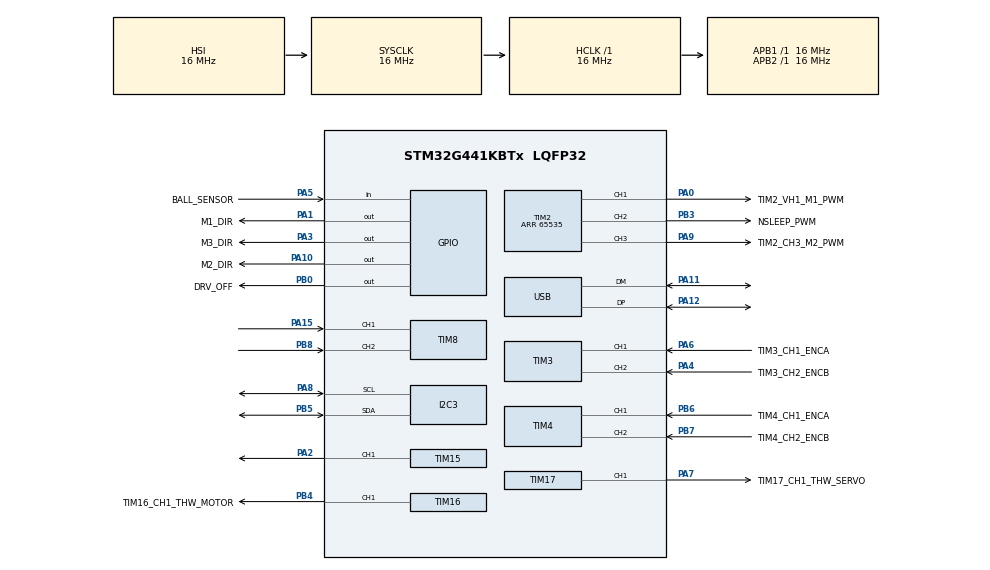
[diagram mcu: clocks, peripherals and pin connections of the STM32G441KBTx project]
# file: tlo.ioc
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Mcu.Family=STM32G4
Mcu.Name=STM32G441KBTx
Mcu.Package=LQFP32
NVIC.PriorityGroup=NVIC_PRIORITYGROUP_4
NVIC.TIM6_DAC_IRQn=true\:0\:0\:false\:false\:true\:true\:true
NVIC.USB_HP_IRQn=true\:0\:0\:false\:false\:true\:true\:true
NVIC.USB_LP_IRQn=true\:0\:0\:false\:false\:true\:false\:true
PA0.GPIO_Label=TIM2_VH1_M1_PWM
PA0.Signal=S_TIM2_CH1
PA1.GPIO_Label=M1_DIR
PA1.Signal=GPIO_Output
PA10.GPIO_Label=M2_DIR
PA10.Signal=GPIO_Output
PA11.Mode=Device
PA11.Signal=USB_DM
PA12.Mode=Device
PA12.Signal=USB_DP
PA13.Mode=Serial_Wire
PA13.Signal=SYS_JTMS-SWDIO
PA14.Mode=Serial_Wire
PA14.Signal=SYS_JTCK-SWCLK
PA15.GPIO_ModeDefaultPP=GPIO_MODE_AF_PP
PA15.GPIO_PuPd=GPIO_NOPULL
PA15.GPIO_Speed=GPIO_SPEED_FREQ_LOW
PA15.Signal=S_TIM8_CH1
PA2.GPIO_ModeDefaultPP=GPIO_MODE_AF_PP
PA2.GPIO_PuPd=GPIO_NOPULL
PA2.GPIO_Speed=GPIO_SPEED_FREQ_LOW
PA2.Signal=S_TIM15_CH1
PA3.GPIO_Label=M3_DIR
PA3.Signal=GPIO_Output
PA4.GPIO_Label=TIM3_CH2_ENCB
PA4.Signal=S_TIM3_CH2
PA5.GPIO_Label=BALL_SENSOR
PA5.Signal=GPIO_Input
PA6.GPIO_Label=TIM3_CH1_ENCA
PA6.Signal=S_TIM3_CH1
PA7.GPIO_Label=TIM17_CH1_THW_SERVO
PA7.Signal=S_TIM17_CH1
PA8.Mode=I2C
PA8.Signal=I2C3_SCL
PA9.GPIO_Label=TIM2_CH3_M2_PWM
PA9.Signal=S_TIM2_CH3
PB0.GPIO_Label=DRV_OFF
PB0.Signal=GPIO_Output
PB3.GPIO_Label=NSLEEP_PWM
PB3.Signal=S_TIM2_CH2
PB4.GPIO_Label=TIM16_CH1_THW_MOTOR
PB4.Signal=S_TIM16_CH1
PB5.Mode=I2C
PB5.Signal=I2C3_SDA
PB6.GPIO_Label=TIM4_CH1_ENCA
PB6.Signal=S_TIM4_CH1
PB7.GPIO_Label=TIM4_CH2_ENCB
PB7.Signal=S_TIM4_CH2
PB8-BOOT0.GPIO_FM8=__NULL
PB8-BOOT0.GPIO_ModeDefaultPP=GPIO_MODE_AF_PP
PB8-BOOT0.GPIO_PuPd=GPIO_NOPULL
PB8-BOOT0.GPIO_Speed=GPIO_SPEED_FREQ_LOW
PB8-BOOT0.Signal=S_TIM8_CH2
ProjectManager.HeapSize=0x200
ProjectManager.StackSize=0x400
ProjectManager.TargetToolchain=STM32CubeIDE
RCC.AHBFreq_Value=16000000
RCC.APB1Freq_Value=16000000
RCC.APB1TimFreq_Value=16000000
RCC.APB2Freq_Value=16000000
RCC.APB2TimFreq_Value=16000000
RCC.CortexFreq_Value=16000000
RCC.EXTERNAL_CLOCK_VALUE=12288000
RCC.HCLKFreq_Value=16000000
RCC.HSE_VALUE=8000000
RCC.HSI48_VALUE=48000000
RCC.HSI_VALUE=16000000
RCC.LSE_VALUE=32768
RCC.PLLN=12
RCC.PLLQ=RCC_PLLQ_DIV4
RCC.SYSCLKFreq_VALUE=16000000
RCC.USBFreq_Value=48000000
RCC.VCOOutputFreq_Value=192000000
SH.S_TIM15_CH1.0=TIM15_CH1,PWM Generation1 CH1
SH.S_TIM16_CH1.0=TIM16_CH1,PWM Generation1 CH1
SH.S_TIM17_CH1.0=TIM17_CH1,PWM Generation1 CH1
SH.S_TIM2_CH1.0=TIM2_CH1,PWM Generation1 CH1
SH.S_TIM2_CH2.0=TIM2_CH2,PWM Generation2 CH2
SH.S_TIM2_CH3.0=TIM2_CH3,PWM Generation3 CH3
SH.S_TIM3_CH1.0=TIM3_CH1,Encoder_Interface
SH.S_TIM3_CH2.0=TIM3_CH2,Encoder_Interface
SH.S_TIM4_CH1.0=TIM4_CH1,Encoder_Interface
SH.S_TIM4_CH2.0=TIM4_CH2,Encoder_Interface
SH.S_TIM8_CH1.0=TIM8_CH1,Encoder_Interface
SH.S_TIM8_CH2.0=TIM8_CH2,Encoder_Interface
TIM1.Channel-PWM\ Generation5\ No\ Output=TIM_CHANNEL_5
TIM15.Channel-PWM\ Generation1\ CH1=TIM_CHANNEL_1
TIM16.Channel=TIM_CHANNEL_1
TIM16.PeriodNoDither=64000
TIM16.Prescaler=4
TIM17.Channel=TIM_CHANNEL_1
TIM17.PeriodNoDither=64000
TIM17.Prescaler=4
TIM2.Channel-PWM\ Generation1\ CH1=TIM_CHANNEL_1
TIM2.Channel-PWM\ Generation2\ CH2=TIM_CHANNEL_2
TIM2.Channel-PWM\ Generation3\ CH3=TIM_CHANNEL_3
TIM2.PeriodNoDither=65535
TIM6.PeriodNoDither=40000
USB_DEVICE.CLASS_NAME_FS=CDC
USB_DEVICE.VirtualMode=Cdc
USB_DEVICE.VirtualModeFS=Cdc_FS
VP_SYS_VS_DBSignals.Mode=DisableDeadBatterySignals
VP_TIM15_VS_ClockSourceINT.Mode=Internal
VP_TIM16_VS_ClockSourceINT.Mode=Enable_Timer
VP_TIM17_VS_ClockSourceINT.Mode=Enable_Timer
VP_TIM1_VS_no_output5.Mode=PWM Generation5 No Output
VP_TIM2_VS_ClockSourceINT.Mode=Internal
VP_TIM6_VS_ClockSourceINT.Mode=Enable_Timer
VP_USB_DEVICE_VS_USB_DEVICE_CDC_FS.Mode=CDC_FS
board=custom

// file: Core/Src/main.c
/* USER CODE BEGIN Header */
/**
  ******************************************************************************
  * @file           : main.c
  * @brief          : Main program body
  ******************************************************************************
  * @attention
  *
  * Copyright (c) 2022 STMicroelectronics.
  * All rights reserved.
  *
  * This software is licensed under terms that can be found in the LICENSE file
  * in the root directory of this software component.
  * If no LICENSE file comes with this software, it is provided AS-IS.
  *
  ******************************************************************************
  */
/* USER CODE END Header */
#include "main.h"
#include "usb_device.h"

I2C_HandleTypeDef hi2c3;

TIM_HandleTypeDef htim1;
TIM_HandleTypeDef htim2;
TIM_HandleTypeDef htim3;
TIM_HandleTypeDef htim4;
TIM_HandleTypeDef htim6;
TIM_HandleTypeDef htim8;
TIM_HandleTypeDef htim15;
TIM_HandleTypeDef htim16;
TIM_HandleTypeDef htim17;

/* USER CODE BEGIN PV */
double Lpos_M1 = 0;
double Lpos_M2 = 0;
double Lpos_M3 = 0;

double tgt_M1 = 0;
double tgt_M2 = 0;
double tgt_M3 = 0;

double integral_M1 = 0;
double integral_M2 = 0;
double integral_M3 = 0;

double last_err_M1 = 0;
double last_err_M2 = 0;
double last_err_M3 = 0;

uint32_t thrower_speed = 0;
uint8_t grabber_on = 0;
uint8_t thrower = 0;
uint8_t safety_iters = 0;

volatile int16_t return_M1 = 0;
volatile int16_t return_M2 = 0;
volatile int16_t return_M3 = 0;

/* USER CODE END PV */

void SystemClock_Config(void);
static void MX_GPIO_Init(void);
static void MX_TIM3_Init(void);
static void MX_TIM4_Init(void);
static void MX_TIM6_Init(void);
static void MX_TIM8_Init(void);
static void MX_TIM2_Init(void);
static void MX_TIM16_Init(void);
static void MX_TIM17_Init(void);
static void MX_TIM15_Init(void);
static void MX_I2C3_Init(void);
static void MX_TIM1_Init(void);

/* USER CODE BEGIN 0 */

typedef struct Command {
	int16_t speed1;
	int16_t speed2;
	int16_t speed3;
	uint16_t bools;
	uint32_t thrower_speed;
	uint32_t delimiter;
}Command;

typedef struct Feedback {
	int16_t speed1;
	int16_t speed2;
	int16_t speed3;
	uint16_t bools;
	uint32_t deliminer;
}Feedback;

Command command = {.speed1 = 0, .speed2 = 0, .speed3 = 0, .thrower_speed = 0, .bools = 0, .delimiter = 0xAAAA};
Feedback feedback = {.speed1 = 0, .speed2 = 0, .speed3 = 0, .bools = 0, .deliminer = 0xAAAA};

volatile uint8_t isCommandReceived = 0;

void CDC_On_Receive(uint8_t* buffer, uint32_t* length) //uint8_t* Buf, uint32_t* Len
{
	if (*length == sizeof(Command)){
		memcpy(&command, buffer, sizeof(Command));
	}
	if (command.delimiter == 0xAAAA){
		isCommandReceived = 1;
	}
}

void throw(uint32_t speed)
{
	if (speed > 7500) speed = 7500;
	if (speed < 2500) speed = 2500;
	TIM16->CCR1 = speed;
	HAL_Delay(400);
	TIM17->CCR1 = 1000;
	int n = 1;
	while (n)
	{
		n = HAL_GPIO_ReadPin(BALL_SENSOR_GPIO_Port, BALL_SENSOR_Pin);
		HAL_Delay(200);
	}
	TIM17->CCR1 = 0;
	TIM16->CCR1 = 2500;
}

void HAL_TIM_PeriodElapsedCallback(TIM_HandleTypeDef *htim)
{
	int16_t Cpos_M1 = (int16_t)TIM3->CNT;
	feedback.speed1  = Cpos_M1;
	double dif_M1 = Cpos_M1 - Lpos_M1;
	Lpos_M1 = Cpos_M1;

	int16_t Cpos_M2 = (int16_t)TIM4->CNT;
	feedback.speed2  = Cpos_M2;
	double dif_M2 = Cpos_M2 - Lpos_M2;
	Lpos_M2 = Cpos_M2;

	int16_t Cpos_M3 = (int16_t)TIM8->CNT;
	feedback.speed3  = Cpos_M3;
	double dif_M3 = Cpos_M3 - Lpos_M3;

	double Err1 = tgt_M1/15 - dif_M1;
	double Err2 = tgt_M2/15 - dif_M2;
	double Err3 = tgt_M3/15 - dif_M3;

	double kp = 4000;
	double ki = 700;
	double kd = 300;

	integral_M1 += Err1;
	integral_M2 += Err2;
	integral_M3 += Err3;

	if (integral_M1 > 40) integral_M1 = 40;
	if (integral_M1 < -40) integral_M1 = -40;

	if (integral_M2 > 40) integral_M2 = 40;
	if (integral_M2 < -40) integral_M2 = -40;

	if (integral_M3 > 40) integral_M3 = 40;
	if (integral_M3 < -40) integral_M3 = -40;

	double derivative_M1 = (Err1 - last_err_M1);
	double derivative_M2 = (Err2 - last_err_M2);
	double derivative_M3 = (Err3 - last_err_M3);

	last_err_M1 = Err1;
	last_err_M2 = Err2;
	last_err_M3 = Err3;

	int32_t Speed_M1 = (int32_t) Err1 * kp + integral_M1 * ki + derivative_M1 * kd;
	int32_t Speed_M2 = (int32_t) Err2 * kp + integral_M2 * ki + derivative_M2 * kd;
	int32_t Speed_M3 = (int32_t) Err3 * kp + integral_M3 * ki + derivative_M3 * kd;

	if (tgt_M1 == 0){
		Speed_M1 = 0;
	}
	if (tgt_M2 == 0){
			Speed_M2 = 0;
		}
	if (tgt_M3 == 0){
			Speed_M3 = 0;
		}
	if (Speed_M1 >= 0) HAL_GPIO_WritePin(M1_DIR_GPIO_Port, M1_DIR_Pin, 0);
	else HAL_GPIO_WritePin(M1_DIR_GPIO_Port, M1_DIR_Pin, 1);

	if (Speed_M2 >= 0) HAL_GPIO_WritePin(M1_DIR_GPIO_Port, M2_DIR_Pin, 0);
	else HAL_GPIO_WritePin(M2_DIR_GPIO_Port, M2_DIR_Pin, 1);

	if (Speed_M3 >= 0) HAL_GPIO_WritePin(M1_DIR_GPIO_Port, M3_DIR_Pin, 1);
	else HAL_GPIO_WritePin(M3_DIR_GPIO_Port, M3_DIR_Pin, 0);

	TIM2->CCR1 = abs(Speed_M1);
	TIM2->CCR3 = abs(Speed_M2);
	TIM15->CCR1 = abs(Speed_M3);

	safety_iters++;
}

/* USER CODE END 0 */

int main(void)
{

  /* MCU Configuration--------------------------------------------------------*/

  /* Reset of all peripherals, Initializes the Flash interface and the Systick. */
  HAL_Init();

  /* Configure the system clock */
  SystemClock_Config();

  /* Initialize all configured peripherals */
  MX_GPIO_Init();
  MX_TIM3_Init();
  MX_TIM4_Init();
  MX_TIM6_Init();
  MX_TIM8_Init();
  MX_TIM2_Init();
  MX_TIM16_Init();
  MX_TIM17_Init();
  MX_TIM15_Init();
  MX_I2C3_Init();
  MX_TIM1_Init();
  MX_USB_Device_Init();
  /* USER CODE BEGIN 2 */
  // set motors off
  HAL_GPIO_WritePin(DRV_OFF_GPIO_Port, DRV_OFF_Pin, 1);

  // toggle nsleep for aprox 27us
  TIM2->CCR2 = 65100;
  HAL_TIM_PWM_Start(&htim2, TIM_CHANNEL_2);
  // set nsleep to high
  HAL_Delay(100);
  TIM2->CCR2 = 65536;

  //motor speeds to zero
  TIM2->CCR1 = 0;
  TIM15->CCR1 = 0;
  TIM2->CCR3 = 0;

  //begin motor pwm
  HAL_TIM_PWM_Start(&htim2, TIM_CHANNEL_1);
  HAL_TIM_PWM_Start(&htim2, TIM_CHANNEL_3);
  HAL_TIM_PWM_Start(&htim15, TIM_CHANNEL_1);

  //enable thrower and arm it while setting its speed to 0
  HAL_TIM_PWM_Start(&htim16, TIM_CHANNEL_1);
  TIM16->CCR1 = 2500;
  HAL_Delay(4000);

  //enable grabber and set its speed to zero
  TIM17->CCR1 = 0;
  HAL_TIM_PWM_Start(&htim17, TIM_CHANNEL_1);

  //start encoders
  HAL_TIM_Encoder_Start(&htim3, TIM_CHANNEL_1 | TIM_CHANNEL_2);
  HAL_TIM_Encoder_Start(&htim4, TIM_CHANNEL_1 | TIM_CHANNEL_2);
  HAL_TIM_Encoder_Start(&htim8, TIM_CHANNEL_1 | TIM_CHANNEL_2);

  HAL_TIM_Base_Start_IT(&htim6);

/*

  // thrower
  HAL_TIM_PWM_Start(&htim17, TIM_CHANNEL_1);

  HAL_GPIO_TogglePin(DRV_OFF_GPIO_Port, DRV_OFF_Pin);
  HAL_Delay(10);
  //HAL_GPIO_TogglePin(DRV_OFF_GPIO_Port, DRV_OFF_Pin);
  HAL_Delay(10);
  HAL_GPIO_TogglePin(M1_DIR_GPIO_Port, M2_DIR_Pin);

  HAL_TIM_Encoder_Start(&htim3, TIM_CHANNEL_1 | TIM_CHANNEL_2);
  HAL_TIM_Encoder_Start(&htim4, TIM_CHANNEL_1 | TIM_CHANNEL_2);
  HAL_TIM_Encoder_Start(&htim8, TIM_CHANNEL_1 | TIM_CHANNEL_2);

  TIM17->CCR1 = 0; // set grabber to stop
  //TIM16->CCR1 = 4000; // set thrower to stop (4000)
  HAL_Delay(2000);
  */
  /* USER CODE END 2 */

  /* Infinite loop */
  /* USER CODE BEGIN WHILE */

  while (1)
  {

	  uint8_t n = HAL_GPIO_ReadPin(BALL_SENSOR_GPIO_Port, BALL_SENSOR_Pin);

	  if (isCommandReceived){
		  isCommandReceived = 0;
		  tgt_M1 = command.speed1;
		  tgt_M2 = command.speed2;
		  tgt_M3 = command.speed3;
		  thrower_speed = command.thrower_speed;
		  uint8_t bools = command.bools;

		  if (bools >= 2)
		  {
		  	  bools -= 2;
		  	  grabber_on = 1;
		  }

		  else
		  {
			  grabber_on = 0;
		  }

		  if (bools >= 1)
		  {
			  bools -= 1;
			  thrower = 1;
		  }

		  HAL_GPIO_WritePin(DRV_OFF_GPIO_Port, DRV_OFF_Pin, 0);

		  safety_iters = 0;

		  feedback.bools = (uint8_t)HAL_GPIO_ReadPin(BALL_SENSOR_GPIO_Port, BALL_SENSOR_Pin);
		  feedback.deliminer = 0xAAAA;
		  CDC_Transmit_FS(&feedback, sizeof(feedback));

	  }

	  if (grabber_on){

		  if (n)
		  {
			  TIM17->CCR1 = 0;
			  grabber_on = 0;

		  }
		  else TIM17->CCR1 = 1000;

	  }

	  else TIM17->CCR1 = 0;
	  if (n) grabber_on = 0;

	  if(thrower && n){
		  throw(thrower_speed);
	  }
	  else thrower = 0;

	  if (safety_iters > 100){
		  HAL_GPIO_WritePin(DRV_OFF_GPIO_Port, DRV_OFF_Pin, 1);
		  tgt_M1 = 0;
		  tgt_M2 = 0;
		  tgt_M3 = 0;
	  }

  }
    /* USER CODE END WHILE */

}

void SystemClock_Config(void)
{
  RCC_OscInitTypeDef RCC_OscInitStruct = {0};
  RCC_ClkInitTypeDef RCC_ClkInitStruct = {0};

  /** Configure the main internal regulator output voltage
  */
  HAL_PWREx_ControlVoltageScaling(PWR_REGULATOR_VOLTAGE_SCALE1);
  /** Initializes the RCC Oscillators according to the specified parameters
  * in the RCC_OscInitTypeDef structure.
  */
  RCC_OscInitStruct.OscillatorType = RCC_OSCILLATORTYPE_HSI;
  RCC_OscInitStruct.HSIState = RCC_HSI_ON;
  RCC_OscInitStruct.HSICalibrationValue = RCC_HSICALIBRATION_DEFAULT;
  RCC_OscInitStruct.PLL.PLLState = RCC_PLL_ON;
  RCC_OscInitStruct.PLL.PLLSource = RCC_PLLSOURCE_HSI;
  RCC_OscInitStruct.PLL.PLLM = RCC_PLLM_DIV1;
  RCC_OscInitStruct.PLL.PLLN = 12;
  RCC_OscInitStruct.PLL.PLLP = RCC_PLLP_DIV2;
  RCC_OscInitStruct.PLL.PLLQ = RCC_PLLQ_DIV4;
  RCC_OscInitStruct.PLL.PLLR = RCC_PLLR_DIV2;
  if (HAL_RCC_OscConfig(&RCC_OscInitStruct) != HAL_OK)
  {
    Error_Handler();
  }
  /** Initializes the CPU, AHB and APB buses clocks
  */
  RCC_ClkInitStruct.ClockType = RCC_CLOCKTYPE_HCLK|RCC_CLOCKTYPE_SYSCLK
                              |RCC_CLOCKTYPE_PCLK1|RCC_CLOCKTYPE_PCLK2;
  RCC_ClkInitStruct.SYSCLKSource = RCC_SYSCLKSOURCE_HSI;
  RCC_ClkInitStruct.AHBCLKDivider = RCC_SYSCLK_DIV1;
  RCC_ClkInitStruct.APB1CLKDivider = RCC_HCLK_DIV1;
  RCC_ClkInitStruct.APB2CLKDivider = RCC_HCLK_DIV1;

  if (HAL_RCC_ClockConfig(&RCC_ClkInitStruct, FLASH_LATENCY_0) != HAL_OK)
  {
    Error_Handler();
  }
}

static void MX_I2C3_Init(void)
{

  hi2c3.Instance = I2C3;
  hi2c3.Init.Timing = 0x00303D5B;
  hi2c3.Init.OwnAddress1 = 0;
  hi2c3.Init.AddressingMode = I2C_ADDRESSINGMODE_7BIT;
  hi2c3.Init.DualAddressMode = I2C_DUALADDRESS_DISABLE;
  hi2c3.Init.OwnAddress2 = 0;
  hi2c3.Init.OwnAddress2Masks = I2C_OA2_NOMASK;
  hi2c3.Init.GeneralCallMode = I2C_GENERALCALL_DISABLE;
  hi2c3.Init.NoStretchMode = I2C_NOSTRETCH_DISABLE;
  if (HAL_I2C_Init(&hi2c3) != HAL_OK)
  {
    Error_Handler();
  }
  /** Configure Analogue filter
  */
  if (HAL_I2CEx_ConfigAnalogFilter(&hi2c3, I2C_ANALOGFILTER_ENABLE) != HAL_OK)
  {
    Error_Handler();
  }
  /** Configure Digital filter
  */
  if (HAL_I2CEx_ConfigDigitalFilter(&hi2c3, 0) != HAL_OK)
  {
    Error_Handler();
  }

}

static void MX_TIM1_Init(void)
{

  TIM_MasterConfigTypeDef sMasterConfig = {0};
  TIM_OC_InitTypeDef sConfigOC = {0};
  TIM_BreakDeadTimeConfigTypeDef sBreakDeadTimeConfig = {0};

  htim1.Instance = TIM1;
  htim1.Init.Prescaler = 0;
  htim1.Init.CounterMode = TIM_COUNTERMODE_UP;
  htim1.Init.Period = 65535;
  htim1.Init.ClockDivision = TIM_CLOCKDIVISION_DIV1;
  htim1.Init.RepetitionCounter = 0;
  htim1.Init.AutoReloadPreload = TIM_AUTORELOAD_PRELOAD_DISABLE;
  if (HAL_TIM_PWM_Init(&htim1) != HAL_OK)
  {
    Error_Handler();
  }
  sMasterConfig.MasterOutputTrigger = TIM_TRGO_RESET;
  sMasterConfig.MasterOutputTrigger2 = TIM_TRGO2_RESET;
  sMasterConfig.MasterSlaveMode = TIM_MASTERSLAVEMODE_DISABLE;
  if (HAL_TIMEx_MasterConfigSynchronization(&htim1, &sMasterConfig) != HAL_OK)
  {
    Error_Handler();
  }
  sConfigOC.OCMode = TIM_OCMODE_PWM1;
  sConfigOC.Pulse = 0;
  sConfigOC.OCPolarity = TIM_OCPOLARITY_HIGH;
  sConfigOC.OCFastMode = TIM_OCFAST_DISABLE;
  sConfigOC.OCIdleState = TIM_OCIDLESTATE_RESET;
  if (HAL_TIM_PWM_ConfigChannel(&htim1, &sConfigOC, TIM_CHANNEL_5) != HAL_OK)
  {
    Error_Handler();
  }
  sBreakDeadTimeConfig.OffStateRunMode = TIM_OSSR_DISABLE;
  sBreakDeadTimeConfig.OffStateIDLEMode = TIM_OSSI_DISABLE;
  sBreakDeadTimeConfig.LockLevel = TIM_LOCKLEVEL_OFF;
  sBreakDeadTimeConfig.DeadTime = 0;
  sBreakDeadTimeConfig.BreakState = TIM_BREAK_DISABLE;
  sBreakDeadTimeConfig.BreakPolarity = TIM_BREAKPOLARITY_HIGH;
  sBreakDeadTimeConfig.BreakFilter = 0;
  sBreakDeadTimeConfig.BreakAFMode = TIM_BREAK_AFMODE_INPUT;
  sBreakDeadTimeConfig.Break2State = TIM_BREAK2_DISABLE;
  sBreakDeadTimeConfig.Break2Polarity = TIM_BREAK2POLARITY_HIGH;
  sBreakDeadTimeConfig.Break2Filter = 0;
  sBreakDeadTimeConfig.Break2AFMode = TIM_BREAK_AFMODE_INPUT;
  sBreakDeadTimeConfig.AutomaticOutput = TIM_AUTOMATICOUTPUT_DISABLE;
  if (HAL_TIMEx_ConfigBreakDeadTime(&htim1, &sBreakDeadTimeConfig) != HAL_OK)
  {
    Error_Handler();
  }

}

static void MX_TIM2_Init(void)
{

  TIM_ClockConfigTypeDef sClockSourceConfig = {0};
  TIM_MasterConfigTypeDef sMasterConfig = {0};
  TIM_OC_InitTypeDef sConfigOC = {0};

  htim2.Instance = TIM2;
  htim2.Init.Prescaler = 0;
  htim2.Init.CounterMode = TIM_COUNTERMODE_UP;
  htim2.Init.Period = 65535;
  htim2.Init.ClockDivision = TIM_CLOCKDIVISION_DIV1;
  htim2.Init.AutoReloadPreload = TIM_AUTORELOAD_PRELOAD_DISABLE;
  if (HAL_TIM_Base_Init(&htim2) != HAL_OK)
  {
    Error_Handler();
  }
  sClockSourceConfig.ClockSource = TIM_CLOCKSOURCE_INTERNAL;
  if (HAL_TIM_ConfigClockSource(&htim2, &sClockSourceConfig) != HAL_OK)
  {
    Error_Handler();
  }
  if (HAL_TIM_PWM_Init(&htim2) != HAL_OK)
  {
    Error_Handler();
  }
  sMasterConfig.MasterOutputTrigger = TIM_TRGO_RESET;
  sMasterConfig.MasterSlaveMode = TIM_MASTERSLAVEMODE_DISABLE;
  if (HAL_TIMEx_MasterConfigSynchronization(&htim2, &sMasterConfig) != HAL_OK)
  {
    Error_Handler();
  }
  sConfigOC.OCMode = TIM_OCMODE_PWM1;
  sConfigOC.Pulse = 0;
  sConfigOC.OCPolarity = TIM_OCPOLARITY_HIGH;
  sConfigOC.OCFastMode = TIM_OCFAST_DISABLE;
  if (HAL_TIM_PWM_ConfigChannel(&htim2, &sConfigOC, TIM_CHANNEL_1) != HAL_OK)
  {
    Error_Handler();
  }
  if (HAL_TIM_PWM_ConfigChannel(&htim2, &sConfigOC, TIM_CHANNEL_2) != HAL_OK)
  {
    Error_Handler();
  }
  if (HAL_TIM_PWM_ConfigChannel(&htim2, &sConfigOC, TIM_CHANNEL_3) != HAL_OK)
  {
    Error_Handler();
  }
  HAL_TIM_MspPostInit(&htim2);

}

static void MX_TIM3_Init(void)
{

  TIM_Encoder_InitTypeDef sConfig = {0};
  TIM_MasterConfigTypeDef sMasterConfig = {0};

  htim3.Instance = TIM3;
  htim3.Init.Prescaler = 0;
  htim3.Init.CounterMode = TIM_COUNTERMODE_UP;
  htim3.Init.Period = 65535;
  htim3.Init.ClockDivision = TIM_CLOCKDIVISION_DIV1;
  htim3.Init.AutoReloadPreload = TIM_AUTORELOAD_PRELOAD_DISABLE;
  sConfig.EncoderMode = TIM_ENCODERMODE_TI1;
  sConfig.IC1Polarity = TIM_ICPOLARITY_RISING;
  sConfig.IC1Selection = TIM_ICSELECTION_DIRECTTI;
  sConfig.IC1Prescaler = TIM_ICPSC_DIV1;
  sConfig.IC1Filter = 0;
  sConfig.IC2Polarity = TIM_ICPOLARITY_RISING;
  sConfig.IC2Selection = TIM_ICSELECTION_DIRECTTI;
  sConfig.IC2Prescaler = TIM_ICPSC_DIV1;
  sConfig.IC2Filter = 0;
  if (HAL_TIM_Encoder_Init(&htim3, &sConfig) != HAL_OK)
  {
    Error_Handler();
  }
  sMasterConfig.MasterOutputTrigger = TIM_TRGO_RESET;
  sMasterConfig.MasterSlaveMode = TIM_MASTERSLAVEMODE_DISABLE;
  if (HAL_TIMEx_MasterConfigSynchronization(&htim3, &sMasterConfig) != HAL_OK)
  {
    Error_Handler();
  }

}

static void MX_TIM4_Init(void)
{

  TIM_Encoder_InitTypeDef sConfig = {0};
  TIM_MasterConfigTypeDef sMasterConfig = {0};

  htim4.Instance = TIM4;
  htim4.Init.Prescaler = 0;
  htim4.Init.CounterMode = TIM_COUNTERMODE_UP;
  htim4.Init.Period = 65535;
  htim4.Init.ClockDivision = TIM_CLOCKDIVISION_DIV1;
  htim4.Init.AutoReloadPreload = TIM_AUTORELOAD_PRELOAD_DISABLE;
  sConfig.EncoderMode = TIM_ENCODERMODE_TI1;
  sConfig.IC1Polarity = TIM_ICPOLARITY_RISING;
  sConfig.IC1Selection = TIM_ICSELECTION_DIRECTTI;
  sConfig.IC1Prescaler = TIM_ICPSC_DIV1;
  sConfig.IC1Filter = 0;
  sConfig.IC2Polarity = TIM_ICPOLARITY_RISING;
  sConfig.IC2Selection = TIM_ICSELECTION_DIRECTTI;
  sConfig.IC2Prescaler = TIM_ICPSC_DIV1;
  sConfig.IC2Filter = 0;
  if (HAL_TIM_Encoder_Init(&htim4, &sConfig) != HAL_OK)
  {
    Error_Handler();
  }
  sMasterConfig.MasterOutputTrigger = TIM_TRGO_RESET;
  sMasterConfig.MasterSlaveMode = TIM_MASTERSLAVEMODE_DISABLE;
  if (HAL_TIMEx_MasterConfigSynchronization(&htim4, &sMasterConfig) != HAL_OK)
  {
    Error_Handler();
  }

}

static void MX_TIM6_Init(void)
{

  TIM_MasterConfigTypeDef sMasterConfig = {0};

  htim6.Instance = TIM6;
  htim6.Init.Prescaler = 0;
  htim6.Init.CounterMode = TIM_COUNTERMODE_UP;
  htim6.Init.Period = 40000;
  htim6.Init.AutoReloadPreload = TIM_AUTORELOAD_PRELOAD_DISABLE;
  if (HAL_TIM_Base_Init(&htim6) != HAL_OK)
  {
    Error_Handler();
  }
  sMasterConfig.MasterOutputTrigger = TIM_TRGO_RESET;
  sMasterConfig.MasterSlaveMode = TIM_MASTERSLAVEMODE_DISABLE;
  if (HAL_TIMEx_MasterConfigSynchronization(&htim6, &sMasterConfig) != HAL_OK)
  {
    Error_Handler();
  }

}

static void MX_TIM8_Init(void)
{

  TIM_Encoder_InitTypeDef sConfig = {0};
  TIM_MasterConfigTypeDef sMasterConfig = {0};

  htim8.Instance = TIM8;
  htim8.Init.Prescaler = 5;
  htim8.Init.CounterMode = TIM_COUNTERMODE_UP;
  htim8.Init.Period = 64000;
  htim8.Init.ClockDivision = TIM_CLOCKDIVISION_DIV1;
  htim8.Init.RepetitionCounter = 0;
  htim8.Init.AutoReloadPreload = TIM_AUTORELOAD_PRELOAD_DISABLE;
  sConfig.EncoderMode = TIM_ENCODERMODE_TI1;
  sConfig.IC1Polarity = TIM_ICPOLARITY_RISING;
  sConfig.IC1Selection = TIM_ICSELECTION_DIRECTTI;
  sConfig.IC1Prescaler = TIM_ICPSC_DIV1;
  sConfig.IC1Filter = 0;
  sConfig.IC2Polarity = TIM_ICPOLARITY_RISING;
  sConfig.IC2Selection = TIM_ICSELECTION_DIRECTTI;
  sConfig.IC2Prescaler = TIM_ICPSC_DIV1;
  sConfig.IC2Filter = 0;
  if (HAL_TIM_Encoder_Init(&htim8, &sConfig) != HAL_OK)
  {
    Error_Handler();
  }
  sMasterConfig.MasterOutputTrigger = TIM_TRGO_RESET;
  sMasterConfig.MasterOutputTrigger2 = TIM_TRGO2_RESET;
  sMasterConfig.MasterSlaveMode = TIM_MASTERSLAVEMODE_DISABLE;
  if (HAL_TIMEx_MasterConfigSynchronization(&htim8, &sMasterConfig) != HAL_OK)
  {
    Error_Handler();
  }

}

static void MX_TIM15_Init(void)
{

  TIM_ClockConfigTypeDef sClockSourceConfig = {0};
  TIM_MasterConfigTypeDef sMasterConfig = {0};
  TIM_OC_InitTypeDef sConfigOC = {0};
  TIM_BreakDeadTimeConfigTypeDef sBreakDeadTimeConfig = {0};

  htim15.Instance = TIM15;
  htim15.Init.Prescaler = 0;
  htim15.Init.CounterMode = TIM_COUNTERMODE_UP;
  htim15.Init.Period = 65535;
  htim15.Init.ClockDivision = TIM_CLOCKDIVISION_DIV1;
  htim15.Init.RepetitionCounter = 0;
  htim15.Init.AutoReloadPreload = TIM_AUTORELOAD_PRELOAD_DISABLE;
  if (HAL_TIM_Base_Init(&htim15) != HAL_OK)
  {
    Error_Handler();
  }
  sClockSourceConfig.ClockSource = TIM_CLOCKSOURCE_INTERNAL;
  if (HAL_TIM_ConfigClockSource(&htim15, &sClockSourceConfig) != HAL_OK)
  {
    Error_Handler();
  }
  if (HAL_TIM_PWM_Init(&htim15) != HAL_OK)
  {
    Error_Handler();
  }
  sMasterConfig.MasterOutputTrigger = TIM_TRGO_RESET;
  sMasterConfig.MasterSlaveMode = TIM_MASTERSLAVEMODE_DISABLE;
  if (HAL_TIMEx_MasterConfigSynchronization(&htim15, &sMasterConfig) != HAL_OK)
  {
    Error_Handler();
  }
  sConfigOC.OCMode = TIM_OCMODE_PWM1;
  sConfigOC.Pulse = 0;
  sConfigOC.OCPolarity = TIM_OCPOLARITY_HIGH;
  sConfigOC.OCNPolarity = TIM_OCNPOLARITY_HIGH;
  sConfigOC.OCFastMode = TIM_OCFAST_DISABLE;
  sConfigOC.OCIdleState = TIM_OCIDLESTATE_RESET;
  sConfigOC.OCNIdleState = TIM_OCNIDLESTATE_RESET;
  if (HAL_TIM_PWM_ConfigChannel(&htim15, &sConfigOC, TIM_CHANNEL_1) != HAL_OK)
  {
    Error_Handler();
  }
  sBreakDeadTimeConfig.OffStateRunMode = TIM_OSSR_DISABLE;
  sBreakDeadTimeConfig.OffStateIDLEMode = TIM_OSSI_DISABLE;
  sBreakDeadTimeConfig.LockLevel = TIM_LOCKLEVEL_OFF;
  sBreakDeadTimeConfig.DeadTime = 0;
  sBreakDeadTimeConfig.BreakState = TIM_BREAK_DISABLE;
  sBreakDeadTimeConfig.BreakPolarity = TIM_BREAKPOLARITY_HIGH;
  sBreakDeadTimeConfig.BreakFilter = 0;
  sBreakDeadTimeConfig.AutomaticOutput = TIM_AUTOMATICOUTPUT_DISABLE;
  if (HAL_TIMEx_ConfigBreakDeadTime(&htim15, &sBreakDeadTimeConfig) != HAL_OK)
  {
    Error_Handler();
  }
  HAL_TIM_MspPostInit(&htim15);

}

static void MX_TIM16_Init(void)
{

  TIM_OC_InitTypeDef sConfigOC = {0};
  TIM_BreakDeadTimeConfigTypeDef sBreakDeadTimeConfig = {0};

  htim16.Instance = TIM16;
  htim16.Init.Prescaler = 4;
  htim16.Init.CounterMode = TIM_COUNTERMODE_UP;
  htim16.Init.Period = 64000;
  htim16.Init.ClockDivision = TIM_CLOCKDIVISION_DIV1;
  htim16.Init.RepetitionCounter = 0;
  htim16.Init.AutoReloadPreload = TIM_AUTORELOAD_PRELOAD_DISABLE;
  if (HAL_TIM_Base_Init(&htim16) != HAL_OK)
  {
    Error_Handler();
  }
  if (HAL_TIM_PWM_Init(&htim16) != HAL_OK)
  {
    Error_Handler();
  }
  sConfigOC.OCMode = TIM_OCMODE_PWM1;
  sConfigOC.Pulse = 0;
  sConfigOC.OCPolarity = TIM_OCPOLARITY_HIGH;
  sConfigOC.OCNPolarity = TIM_OCNPOLARITY_HIGH;
  sConfigOC.OCFastMode = TIM_OCFAST_DISABLE;
  sConfigOC.OCIdleState = TIM_OCIDLESTATE_RESET;
  sConfigOC.OCNIdleState = TIM_OCNIDLESTATE_RESET;
  if (HAL_TIM_PWM_ConfigChannel(&htim16, &sConfigOC, TIM_CHANNEL_1) != HAL_OK)
  {
    Error_Handler();
  }
  sBreakDeadTimeConfig.OffStateRunMode = TIM_OSSR_DISABLE;
  sBreakDeadTimeConfig.OffStateIDLEMode = TIM_OSSI_DISABLE;
  sBreakDeadTimeConfig.LockLevel = TIM_LOCKLEVEL_OFF;
  sBreakDeadTimeConfig.DeadTime = 0;
  sBreakDeadTimeConfig.BreakState = TIM_BREAK_DISABLE;
  sBreakDeadTimeConfig.BreakPolarity = TIM_BREAKPOLARITY_HIGH;
  sBreakDeadTimeConfig.BreakFilter = 0;
  sBreakDeadTimeConfig.AutomaticOutput = TIM_AUTOMATICOUTPUT_DISABLE;
  if (HAL_TIMEx_ConfigBreakDeadTime(&htim16, &sBreakDeadTimeConfig) != HAL_OK)
  {
    Error_Handler();
  }
  HAL_TIM_MspPostInit(&htim16);

}

static void MX_TIM17_Init(void)
{

  TIM_OC_InitTypeDef sConfigOC = {0};
  TIM_BreakDeadTimeConfigTypeDef sBreakDeadTimeConfig = {0};

  htim17.Instance = TIM17;
  htim17.Init.Prescaler = 4;
  htim17.Init.CounterMode = TIM_COUNTERMODE_UP;
  htim17.Init.Period = 64000;
  htim17.Init.ClockDivision = TIM_CLOCKDIVISION_DIV1;
  htim17.Init.RepetitionCounter = 0;
  htim17.Init.AutoReloadPreload = TIM_AUTORELOAD_PRELOAD_DISABLE;
  if (HAL_TIM_Base_Init(&htim17) != HAL_OK)
  {
    Error_Handler();
  }
  if (HAL_TIM_PWM_Init(&htim17) != HAL_OK)
  {
    Error_Handler();
  }
  sConfigOC.OCMode = TIM_OCMODE_PWM1;
  sConfigOC.Pulse = 0;
  sConfigOC.OCPolarity = TIM_OCPOLARITY_HIGH;
  sConfigOC.OCNPolarity = TIM_OCNPOLARITY_HIGH;
  sConfigOC.OCFastMode = TIM_OCFAST_DISABLE;
  sConfigOC.OCIdleState = TIM_OCIDLESTATE_RESET;
  sConfigOC.OCNIdleState = TIM_OCNIDLESTATE_RESET;
  if (HAL_TIM_PWM_ConfigChannel(&htim17, &sConfigOC, TIM_CHANNEL_1) != HAL_OK)
  {
    Error_Handler();
  }
  sBreakDeadTimeConfig.OffStateRunMode = TIM_OSSR_DISABLE;
  sBreakDeadTimeConfig.OffStateIDLEMode = TIM_OSSI_DISABLE;
  sBreakDeadTimeConfig.LockLevel = TIM_LOCKLEVEL_OFF;
  sBreakDeadTimeConfig.DeadTime = 0;
  sBreakDeadTimeConfig.BreakState = TIM_BREAK_DISABLE;
  sBreakDeadTimeConfig.BreakPolarity = TIM_BREAKPOLARITY_HIGH;
  sBreakDeadTimeConfig.BreakFilter = 0;
  sBreakDeadTimeConfig.AutomaticOutput = TIM_AUTOMATICOUTPUT_DISABLE;
  if (HAL_TIMEx_ConfigBreakDeadTime(&htim17, &sBreakDeadTimeConfig) != HAL_OK)
  {
    Error_Handler();
  }
  HAL_TIM_MspPostInit(&htim17);

}

static void MX_GPIO_Init(void)
{
  GPIO_InitTypeDef GPIO_InitStruct = {0};

  /* GPIO Ports Clock Enable */
  __HAL_RCC_GPIOA_CLK_ENABLE();
  __HAL_RCC_GPIOB_CLK_ENABLE();

  /*Configure GPIO pin Output Level */
  HAL_GPIO_WritePin(GPIOA, M1_DIR_Pin|M3_DIR_Pin|M2_DIR_Pin, GPIO_PIN_RESET);

  /*Configure GPIO pin Output Level */
  HAL_GPIO_WritePin(DRV_OFF_GPIO_Port, DRV_OFF_Pin, GPIO_PIN_RESET);

  /*Configure GPIO pins : M1_DIR_Pin M3_DIR_Pin M2_DIR_Pin */
  GPIO_InitStruct.Pin = M1_DIR_Pin|M3_DIR_Pin|M2_DIR_Pin;
  GPIO_InitStruct.Mode = GPIO_MODE_OUTPUT_PP;
  GPIO_InitStruct.Pull = GPIO_NOPULL;
  GPIO_InitStruct.Speed = GPIO_SPEED_FREQ_LOW;
  HAL_GPIO_Init(GPIOA, &GPIO_InitStruct);

  /*Configure GPIO pin : BALL_SENSOR_Pin */
  GPIO_InitStruct.Pin = BALL_SENSOR_Pin;
  GPIO_InitStruct.Mode = GPIO_MODE_INPUT;
  GPIO_InitStruct.Pull = GPIO_NOPULL;
  HAL_GPIO_Init(BALL_SENSOR_GPIO_Port, &GPIO_InitStruct);

  /*Configure GPIO pin : DRV_OFF_Pin */
  GPIO_InitStruct.Pin = DRV_OFF_Pin;
  GPIO_InitStruct.Mode = GPIO_MODE_OUTPUT_PP;
  GPIO_InitStruct.Pull = GPIO_NOPULL;
  GPIO_InitStruct.Speed = GPIO_SPEED_FREQ_LOW;
  HAL_GPIO_Init(DRV_OFF_GPIO_Port, &GPIO_InitStruct);

}

void Error_Handler(void)
{
  __disable_irq();
  while (1)
  {
  }
}
